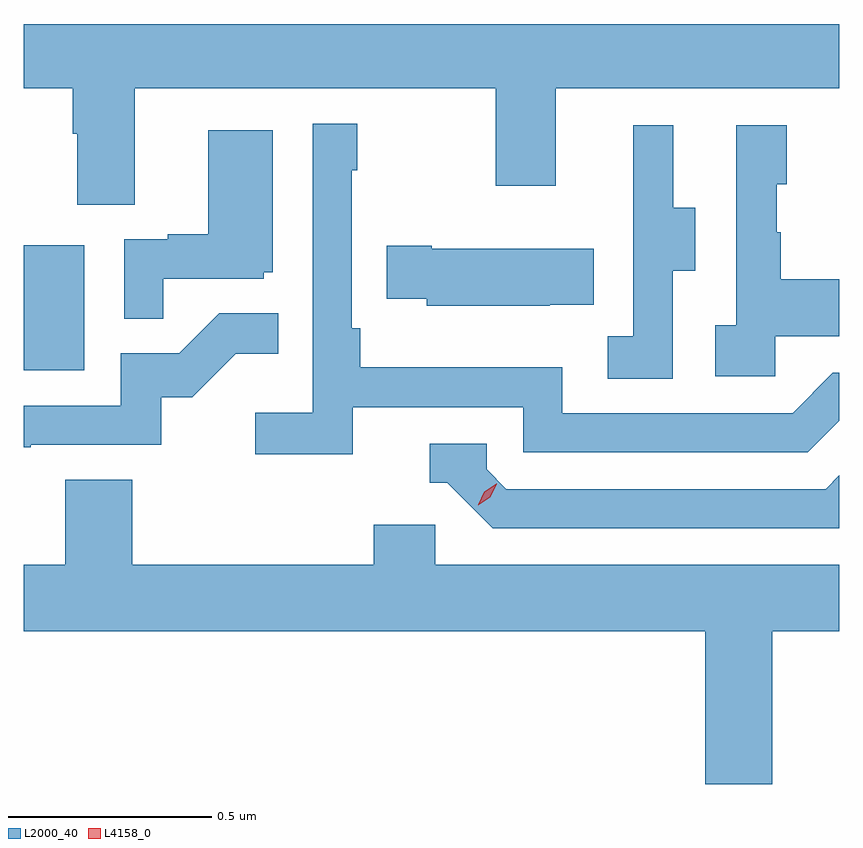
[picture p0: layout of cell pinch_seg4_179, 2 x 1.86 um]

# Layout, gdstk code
import gdstk
lib = gdstk.Library(unit=1e-6, precision=1e-09)
def R(c, l, rs):  # rectangles x0, y0, x1, y1
    for r in rs: c.add(gdstk.rectangle(r[:2], r[2:], *l))
def P(c, l, *ps):  # polygons
    for p in ps: c.add(gdstk.Polygon(p, *l))
L2000_40 = (2000, 40)
L4158_0 = (4158, 0)

pinch_seg4_179 = lib.new_cell('pinch_seg4_179')
R(pinch_seg4_179, L2000_40, [(1086.413,797.46,1086.562,797.767)])
P(pinch_seg4_179, L2000_40, [(1086.685,798.152),(1087.57,798.152),(1087.57,797.913),(1087.717,797.913),(1087.717,798.152),(1088.413,798.152),(1088.413,798.309),(1086.413,798.309),(1086.413,798.152),(1086.533,798.152),(1086.533,798.04),(1086.545,798.04),(1086.545,797.866),(1086.685,797.866)],
  [(1087.22,797.37),(1087.638,797.37),(1087.638,797.259),(1088.335,797.259),(1088.413,797.337),(1088.413,797.454),(1088.397,797.454),(1088.298,797.355),(1087.734,797.355),(1087.734,797.467),(1087.238,797.467),(1087.238,797.563),(1087.218,797.563),(1087.218,797.951),(1087.231,797.951),(1087.231,798.064),(1087.122,798.064),(1087.122,797.356),(1086.981,797.356),(1086.981,797.254),(1087.22,797.254)],
  [(1088.256,797.543),(1088.413,797.543),(1088.413,797.683),(1088.269,797.683),(1088.269,797.798),(1088.259,797.798),(1088.259,797.916),(1088.284,797.916),(1088.284,798.061),(1088.16,798.061),(1088.16,797.57),(1088.109,797.57),(1088.109,797.445),(1088.256,797.445)],
  [(1088.004,797.704),(1088.059,797.704),(1088.059,797.859),(1088.005,797.859),(1088.005,798.061),(1087.907,798.061),(1087.907,797.847),(1087.908,797.847),(1087.908,797.543),(1087.845,797.543),(1087.845,797.44),(1088.004,797.44)],
  [(1086.755,797.685),(1087.002,797.685),(1087.002,797.7),(1087.024,797.7),(1087.024,798.049),(1086.866,798.049),(1086.866,797.794),(1086.767,797.794),(1086.767,797.781),(1086.66,797.781),(1086.66,797.587),(1086.755,797.587)],
  [(1087.703,797.621),(1087.811,797.621),(1087.811,797.758),(1087.414,797.758),(1087.414,797.766),(1087.303,797.766),(1087.303,797.636),(1087.401,797.636),(1087.401,797.618),(1087.703,797.618)],
  [(1086.431,797.277),(1086.75,797.277),(1086.75,797.394),(1086.826,797.394),(1086.933,797.501),(1087.037,797.501),(1087.037,797.6),(1086.893,797.6),(1086.795,797.502),(1086.651,797.502),(1086.651,797.373),(1086.413,797.373),(1086.413,797.272),(1086.431,797.272)],
  [(1088.413,797.203),(1088.379,797.169),(1087.596,797.169),(1087.548,797.217),(1087.548,797.28),(1087.409,797.28),(1087.409,797.184),(1087.452,797.184),(1087.563,797.073),(1088.413,797.073)],
  [(1088.248,796.82),(1088.413,796.82),(1088.413,796.984),(1087.422,796.984),(1087.422,797.082),(1087.271,797.082),(1087.271,796.984),(1086.68,796.984),(1086.68,797.192),(1086.515,797.192),(1086.515,796.984),(1086.413,796.984),(1086.413,796.82),(1088.084,796.82),(1088.084,796.446),(1088.248,796.446)])
P(pinch_seg4_179, L4158_0, [(1087.527,797.129),(1087.527,797.13),(1087.542,797.162),(1087.572,797.182),(1087.573,797.182),(1087.573,797.182),(1087.557,797.149),(1087.527,797.129)])

lib.write_gds('pinch_seg4_179.gds')
